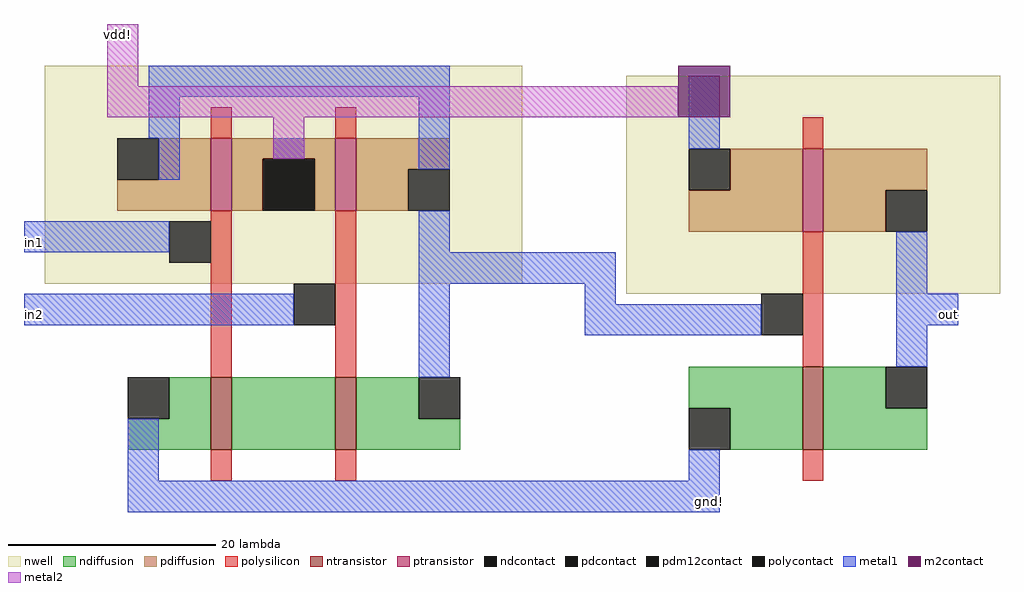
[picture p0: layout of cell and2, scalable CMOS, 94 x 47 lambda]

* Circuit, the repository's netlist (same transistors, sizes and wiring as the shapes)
* SPICE3 file created from and2.ext - technology: scmos
.include TSMC_180nm.txt
.option scale=0.09u

M1000 not_0/in in2 2nand_0/a_n21_1# Gnd CMOSN w=7 l=2
+  ad=70 pd=34 as=70 ps=34
M1001 2nand_0/a_n21_1# in1 gnd Gnd CMOSN w=7 l=2
+  ad=0 pd=0 as=144 ps=68
M1002 not_0/in in2 vdd 2nand_0/w_n39_17# CMOSP w=7 l=2
+  ad=126 pd=64 as=158 ps=72
M1003 vdd in1 not_0/in 2nand_0/w_n39_17# CMOSP w=7 l=2
+  ad=0 pd=0 as=0 ps=0
M1004 out not_0/in gnd Gnd CMOSN w=8 l=2
+  ad=80 pd=36 as=0 ps=0
M1005 out not_0/in vdd not_0/w_n14_2# CMOSP w=8 l=2
+  ad=80 pd=36 as=0 ps=0


Vdd vdd gnd 2

V_in_a in1 gnd DC 2
V_in_b in2 gnd DC 2



.tran 1u 100u




.control
run
set color0 = rgb:f/f/e
set color1 = black

.end
.endc

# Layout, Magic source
magic
tech scmos
<< metal1 >>
rect -2 23 1 26
rect 49 20 55 23
rect -2 16 1 19
rect 52 18 55 20
rect 52 15 58 18
rect 85 16 88 19
rect 8 -2 65 1
<< m2contact >>
rect 61 36 66 41
<< metal2 >>
rect 6 41 9 45
rect 25 36 61 39
use not  not_0
transform 1 0 70 0 1 17
box -14 -16 22 23
use 2nand  2nand_0
transform 1 0 39 0 1 3
box -39 -3 10 38
<< labels >>
rlabel metal1 -1 24 -1 24 3 in1
rlabel metal1 -1 17 -1 17 3 in2
rlabel metal1 87 17 87 17 7 out
rlabel metal2 7 44 7 44 5 vdd!
rlabel metal1 64 -1 64 -1 1 gnd!
<< end >>

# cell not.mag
magic
tech scmos
<< nwell >>
rect -14 2 22 23
<< ntransistor >>
rect 3 -13 5 -5
<< ptransistor >>
rect 3 8 5 16
<< ndiffusion >>
rect -8 -9 3 -5
rect -4 -13 3 -9
rect 5 -9 11 -5
rect 5 -13 15 -9
<< pdiffusion >>
rect -4 12 3 16
rect -8 8 3 12
rect 5 12 15 16
rect 5 8 11 12
<< ndcontact >>
rect -8 -13 -4 -9
rect 11 -9 15 -5
<< pdcontact >>
rect -8 12 -4 16
rect 11 8 15 12
<< polysilicon >>
rect 3 16 5 19
rect 3 -5 5 8
rect 3 -16 5 -13
<< polycontact >>
rect -1 -2 3 2
<< metal1 >>
rect -8 16 -5 23
rect -14 -2 -1 1
rect 12 -5 15 8
rect -8 -16 -5 -13
<< labels >>
rlabel metal1 -13 -1 -13 -1 3 in
rlabel metal1 14 0 14 0 1 out
rlabel metal1 -6 21 -6 21 5 vdd!
rlabel metal1 -7 -15 -7 -15 1 gnd!
<< end >>

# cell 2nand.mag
magic
tech scmos
<< nwell >>
rect -39 17 7 38
<< ntransistor >>
rect -23 1 -21 8
rect -11 1 -9 8
<< ptransistor >>
rect -23 24 -21 31
rect -11 24 -9 31
<< ndiffusion >>
rect -27 4 -23 8
rect -31 1 -23 4
rect -21 1 -11 8
rect -9 4 -3 8
rect -9 1 1 4
<< pdiffusion >>
rect -28 27 -23 31
rect -32 24 -23 27
rect -21 29 -11 31
rect -21 24 -18 29
rect -13 24 -11 29
rect -9 28 0 31
rect -9 24 -4 28
<< ndcontact >>
rect -31 4 -27 8
rect -3 4 1 8
<< pdcontact >>
rect -32 27 -28 31
rect -18 24 -13 29
rect -4 24 0 28
<< polysilicon >>
rect -23 31 -21 34
rect -11 31 -9 34
rect -23 8 -21 24
rect -11 8 -9 24
rect -23 -2 -21 1
rect -11 -2 -9 1
<< polycontact >>
rect -27 19 -23 23
rect -15 13 -11 17
<< metal1 >>
rect -29 35 0 38
rect -29 31 -26 35
rect -28 27 -26 31
rect -17 29 -14 31
rect -3 28 0 35
rect -39 20 -27 23
rect -3 20 0 24
rect -3 17 10 20
rect -39 13 -15 16
rect -3 8 0 17
rect -31 -3 -28 4
<< pdm12contact >>
rect -18 24 -13 29
<< metal2 >>
rect -33 36 -30 38
rect -33 33 -14 36
rect -17 29 -14 33
<< labels >>
rlabel metal1 9 18 9 18 7 out
rlabel ndcontact -29 6 -29 6 1 gnd!
rlabel metal2 -32 36 -32 36 5 vdd!
rlabel metal1 -38 21 -38 21 3 in1
rlabel metal1 -37 14 -37 14 3 in2
<< end >>
